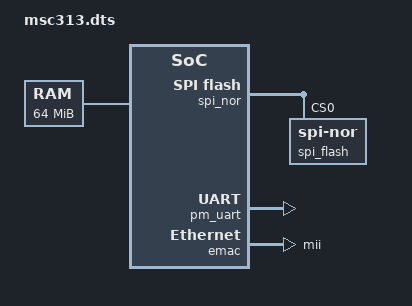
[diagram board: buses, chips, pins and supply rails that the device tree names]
// SPDX-License-Identifier: GPL-2.0
/*
 * Copyright (c) 2019 thingy.jp.
 * Author: Daniel Palmer <daniel@0x0f.com>
 */
/dts-v1/;

/ {
	#address-cells = <1>;
	#size-cells = <1>;
	compatible = "mstar,msc313";
	
	memory@20000000 {
		device_type = "memory";
		reg = <0x20000000 0x4000000>;
	};

	aliases {
		spi0 = &spi_nor;
		serial = &pm_uart;
		eth0 = &emac;
	};

	chosen {
		stdout-path = &pm_uart;
	};

	cpus {
		#address-cells = <1>;
		#size-cells = <0>;

		cpu@0 {
			device_type = "cpu";
			compatible = "arm,cortex-a7";
			reg = <0x0>;
		};
	};

	soc {
		compatible = "simple-bus";
		#address-cells = <1>;
		#size-cells = <1>;
		ranges;
		u-boot,dm-pre-reloc;

		spi_nor: spi_nor@1f001000 {
			compatible = "mstar,msc313-spinor";
			#address-cells = <1>;
			#size-cells = <0>;
			u-boot,dm-pre-reloc;
			reg-names = "reg_base", "mem_base";
			reg = <0x1f001000 0x400>, <0x14000000 0x2000000>;
			spi-half-duplex;
			spi_flash@0{
				u-boot,dm-pre-reloc;
				compatible = "jedec,spi-nor";
				reg = <0>;
			};
		};

		pm_uart: uart@1f221000 {
			compatible = "ns16550a";
			u-boot,dm-pre-reloc;
			reg = <0x1f221000 0x200>;
			reg-shift = <3>;
			clock-frequency = <172000000>;
		};
		
		clk_emac: clk-sysin {
			#clock-cells = <0>;
			compatible = "fixed-clock";
			clock-frequency = <144000000>;
			u-boot,dm-pre-reloc;
		};
		
		emac: emac@1f2a2000 {
			compatible = "mstar,msc313-emac";
			reg = <0x1f2a2000 0x4000>;
			phy-mode = "mii";
			clocks = <&clk_emac>;
		};
	};
};
